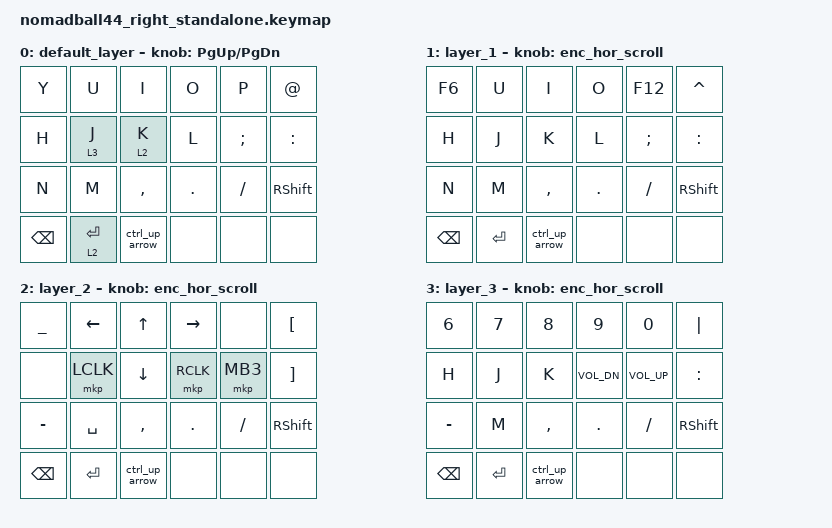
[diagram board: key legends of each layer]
// 非 split 右手検証用: behaviors / sensor-bindings は config/nomadball44.keymap と同一
// hold_tap_for_enter の hold-trigger は 6 列・24 キー配置向けに再指定

#include <behaviors.dtsi>
#include <dt-bindings/zmk/keys.h>
#include <dt-bindings/zmk/pointing.h>

/ {
    behaviors {
        enc_hor_scroll: enc_hor_scroll {
            compatible = "zmk,behavior-sensor-rotate";
            #sensor-binding-cells = <0>;
            bindings = <&msc SCRL_RIGHT>, <&msc SCRL_LEFT>;
        };

        hold_tap: hold_tap {
            compatible = "zmk,behavior-hold-tap";
            label = "HOLD_TAP";
            bindings = <&mo>, <&kp>;

            #binding-cells = <2>;
            tapping-term-ms = <150>;
            require-prior-idle-ms = <150>;
        };

        /* 右手単体 transform: 行優先 0..23（Enter=19） */
        hold_tap_for_enter: hold_tap_for_enter {
            compatible = "zmk,behavior-hold-tap";
            label = "HOLD_TAP_FOR_ENTER";
            bindings = <&mo>, <&kp>;

            #binding-cells = <2>;
            tapping-term-ms = <150>;
            require-prior-idle-ms = <150>;
            hold-trigger-key-positions = <6 7 8 9 10 11 18 19 20>;
        };
    };

    macros {
        ctrl_up_arrow: ctrl_up_arrow {
            compatible = "zmk,behavior-macro";
            #binding-cells = <0>;
            bindings = <&kp LCTRL &kp UP_ARROW>;
            label = "CTRL_UP_ARROW";
        };
    };

    keymap {
        compatible = "zmk,keymap";

        default_layer {
            bindings = <
&kp Y          &kp U     &kp I     &kp O     &kp P      &kp AT_SIGN
&kp H          &hold_tap 3 J  &hold_tap 2 K  &kp L     &kp SEMI   &kp COLON
&kp N          &kp M     &kp COMMA &kp PERIOD &kp SLASH  &kp RIGHT_SHIFT
&kp BACKSPACE  &hold_tap_for_enter 2 ENTER  &ctrl_up_arrow  &none  &none  &none
            >;

            sensor-bindings = <&inc_dec_kp PG_UP PAGE_DOWN>;
        };

        layer_1 {
            bindings = <
&kp F6         &kp U     &kp I     &kp O     &kp F12    &kp CARET
&kp H          &kp J     &kp K     &kp L     &kp SEMI   &kp COLON
&kp N          &kp M     &kp COMMA &kp PERIOD &kp SLASH  &kp RIGHT_SHIFT
&kp BACKSPACE  &kp ENTER &ctrl_up_arrow  &none  &none  &none
            >;

            sensor-bindings = <&enc_hor_scroll>;
        };

        layer_2 {
            bindings = <
&kp UNDER      &kp LEFT  &kp UP_ARROW &kp RIGHT   &none      &kp LBKT
&none          &mkp LCLK &kp DOWN_ARROW &mkp RCLK   &mkp MB3   &kp RBKT
&kp MINUS      &kp SPACE &kp COMMA &kp PERIOD &kp SLASH  &kp RIGHT_SHIFT
&kp BACKSPACE  &kp ENTER &ctrl_up_arrow  &none  &none  &none
            >;

            sensor-bindings = <&enc_hor_scroll>;
        };

        layer_3 {
            bindings = <
&kp N6         &kp N7    &kp N8    &kp N9    &kp N0     &kp PIPE
&kp H          &kp J     &kp K     &kp C_VOL_DN &kp C_VOL_UP &kp COLON
&kp MINUS      &kp M     &kp COMMA &kp PERIOD &kp SLASH  &kp RIGHT_SHIFT
&kp BACKSPACE  &kp ENTER &ctrl_up_arrow  &none  &none  &none
            >;

            sensor-bindings = <&enc_hor_scroll>;
        };
    };
};
